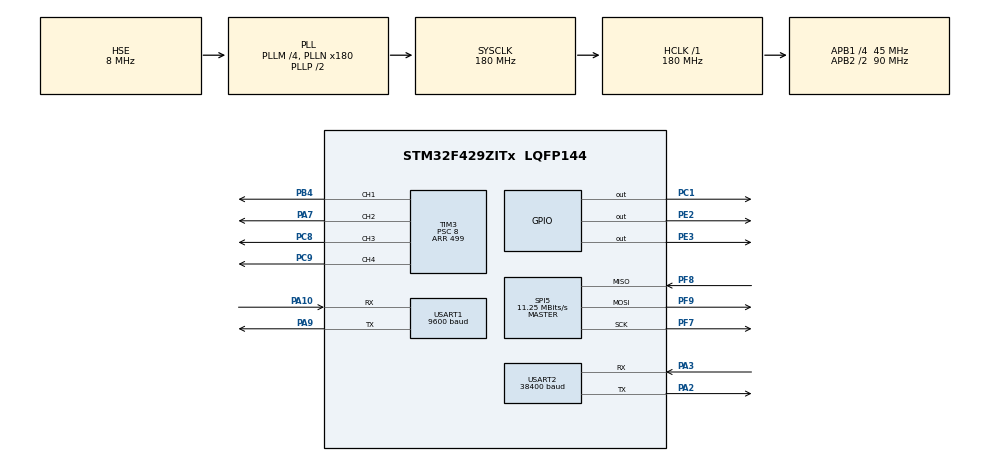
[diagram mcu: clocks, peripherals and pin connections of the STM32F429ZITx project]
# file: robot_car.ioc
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Mcu.Family=STM32F4
Mcu.Name=STM32F429ZITx
Mcu.Package=LQFP144
NVIC.PriorityGroup=NVIC_PRIORITYGROUP_4
NVIC.USART2_IRQn=true\:0\:0\:false\:false\:true\:true\:true\:true
PA10.Mode=Asynchronous
PA10.Signal=USART1_RX
PA13.Mode=Serial_Wire
PA13.Signal=SYS_JTMS-SWDIO
PA14.Mode=Serial_Wire
PA14.Signal=SYS_JTCK-SWCLK
PA2.Mode=Asynchronous
PA2.Signal=USART2_TX
PA3.Mode=Asynchronous
PA3.Signal=USART2_RX
PA7.Signal=S_TIM3_CH2
PA9.Mode=Asynchronous
PA9.Signal=USART1_TX
PB4.Signal=S_TIM3_CH1
PC1.PinState=GPIO_PIN_SET
PC1.Signal=GPIO_Output
PC8.Signal=S_TIM3_CH3
PC9.Signal=S_TIM3_CH4
PE2.Signal=GPIO_Output
PE3.Signal=GPIO_Output
PF7.Mode=Full_Duplex_Master
PF7.Signal=SPI5_SCK
PF8.Mode=Full_Duplex_Master
PF8.Signal=SPI5_MISO
PF9.Mode=Full_Duplex_Master
PF9.Signal=SPI5_MOSI
PH0/OSC_IN.Mode=HSE-External-Oscillator
PH0/OSC_IN.Signal=RCC_OSC_IN
PH1/OSC_OUT.Mode=HSE-External-Oscillator
PH1/OSC_OUT.Signal=RCC_OSC_OUT
ProjectManager.HeapSize=0x200
ProjectManager.StackSize=0x400
ProjectManager.TargetToolchain=STM32CubeIDE
RCC.48MHZClocksFreq_Value=120000000
RCC.AHBFreq_Value=180000000
RCC.APB1CLKDivider=RCC_HCLK_DIV4
RCC.APB1Freq_Value=45000000
RCC.APB1TimFreq_Value=90000000
RCC.APB2CLKDivider=RCC_HCLK_DIV2
RCC.APB2Freq_Value=90000000
RCC.APB2TimFreq_Value=180000000
RCC.CortexFreq_Value=180000000
RCC.HCLKFreq_Value=180000000
RCC.HSE_VALUE=8000000
RCC.HSI_VALUE=16000000
RCC.LSE_VALUE=32768
RCC.PLLM=4
RCC.PLLN=180
RCC.PLLQ=3
RCC.PLLSAIN=50
RCC.PLLSourceVirtual=RCC_PLLSOURCE_HSE
RCC.SYSCLKFreq_VALUE=180000000
RCC.SYSCLKSource=RCC_SYSCLKSOURCE_PLLCLK
RCC.VCOOutputFreq_Value=360000000
SH.S_TIM3_CH1.0=TIM3_CH1,PWM Generation1 CH1
SH.S_TIM3_CH2.0=TIM3_CH2,PWM Generation2 CH2
SH.S_TIM3_CH3.0=TIM3_CH3,PWM Generation3 CH3
SH.S_TIM3_CH4.0=TIM3_CH4,PWM Generation4 CH4
SPI5.BaudRatePrescaler=SPI_BAUDRATEPRESCALER_8
SPI5.CLKPhase=SPI_PHASE_2EDGE
SPI5.CLKPolarity=SPI_POLARITY_HIGH
SPI5.CalculateBaudRate=11.25 MBits/s
SPI5.Direction=SPI_DIRECTION_2LINES
SPI5.Mode=SPI_MODE_MASTER
SPI5.VirtualType=VM_MASTER
TIM3.Channel-PWM\ Generation1\ CH1=TIM_CHANNEL_1
TIM3.Channel-PWM\ Generation2\ CH2=TIM_CHANNEL_2
TIM3.Channel-PWM\ Generation3\ CH3=TIM_CHANNEL_3
TIM3.Channel-PWM\ Generation4\ CH4=TIM_CHANNEL_4
TIM3.Period=499
TIM3.Prescaler=8
USART1.BaudRate=9600
USART1.VirtualMode=VM_ASYNC
USART2.BaudRate=38400
USART2.VirtualMode=VM_ASYNC
VP_TIM3_VS_ClockSourceINT.Mode=Internal
board=STM32F429I-DISC1

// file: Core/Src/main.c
/* USER CODE BEGIN Header */
/**
  ******************************************************************************
  * @file           : main.c
  * @brief          : Main program body
  ******************************************************************************
  * @attention
  *
  * Copyright (c) 2026 STMicroelectronics.
  * All rights reserved.
  *
  * This software is licensed under terms that can be found in the LICENSE file
  * in the root directory of this software component.
  * If no LICENSE file comes with this software, it is provided AS-IS.
  *
  ******************************************************************************
  */
/* USER CODE END Header */
#include "main.h"

/* USER CODE BEGIN Includes */
#include "drv_bluetoothoruart.h"
#include "app_command.h"
#include <string.h>

#include <stdio.h>
#include "app_robot.h"
#include "svc_heading.h"
#include "drv_i3g4250.h"

#include "app_command.h"    //komutlar F600 S L90
#include "debug.h"

/* USER CODE END Includes */

SPI_HandleTypeDef hspi5;

TIM_HandleTypeDef htim3;

UART_HandleTypeDef huart1;
UART_HandleTypeDef huart2;

void SystemClock_Config(void);
static void MX_GPIO_Init(void);
static void MX_USART1_UART_Init(void);
static void MX_TIM3_Init(void);
static void MX_SPI5_Init(void);
static void MX_USART2_UART_Init(void);

int main(void)
{

  /* MCU Configuration--------------------------------------------------------*/

  /* Reset of all peripherals, Initializes the Flash interface and the Systick. */
  HAL_Init();

  /* Configure the system clock */
  SystemClock_Config();

  /* Initialize all configured peripherals */
  MX_GPIO_Init();
  MX_USART1_UART_Init();
  MX_TIM3_Init();
  MX_SPI5_Init();
  MX_USART2_UART_Init();
  /* USER CODE BEGIN 2 */

  Bluetooth_Init(&huart2);
  Bluetooth_StartReceiveIT();

  Check_Reset_Source();    // reset sebebini burada kontrol et

  printf("Hello robot\r\n");

  App_Init();

  uint32_t t10 = HAL_GetTick();

  //TestWhoAmI(I3G4250_WHO_AM_I);

  //Robot_TurnAngle(90.0);
  //Robot_ForwardGyro(700);

  char rx_line[BT_RX_LINE_LEN];
  /* USER CODE END 2 */

  /* Infinite loop */
  while (1)
  {

    /* USER CODE BEGIN 3 */

	    if (Bluetooth_IsLineReady())
	    {
	        memset(rx_line, 0, sizeof(rx_line));
	        Bluetooth_GetLine(rx_line, sizeof(rx_line));

	        printf("RX: %s\r\n", rx_line);
	        Command_Parse(rx_line);
	    }

	    // ===== 10 ms motion tick =====
	    if (HAL_GetTick() - t10 >= 10)
	    {
	        t10 += 10;
	        App_Tick_10ms();
	        //Heading_Print();
	    }

  }
  /* USER CODE END 3 */
}

void SystemClock_Config(void)
{
  RCC_OscInitTypeDef RCC_OscInitStruct = {0};
  RCC_ClkInitTypeDef RCC_ClkInitStruct = {0};

  /** Configure the main internal regulator output voltage
  */
  __HAL_RCC_PWR_CLK_ENABLE();
  __HAL_PWR_VOLTAGESCALING_CONFIG(PWR_REGULATOR_VOLTAGE_SCALE1);

  /** Initializes the RCC Oscillators according to the specified parameters
  * in the RCC_OscInitTypeDef structure.
  */
  RCC_OscInitStruct.OscillatorType = RCC_OSCILLATORTYPE_HSE;
  RCC_OscInitStruct.HSEState = RCC_HSE_ON;
  RCC_OscInitStruct.PLL.PLLState = RCC_PLL_ON;
  RCC_OscInitStruct.PLL.PLLSource = RCC_PLLSOURCE_HSE;
  RCC_OscInitStruct.PLL.PLLM = 4;
  RCC_OscInitStruct.PLL.PLLN = 180;
  RCC_OscInitStruct.PLL.PLLP = RCC_PLLP_DIV2;
  RCC_OscInitStruct.PLL.PLLQ = 3;
  if (HAL_RCC_OscConfig(&RCC_OscInitStruct) != HAL_OK)
  {
    Error_Handler();
  }

  /** Activate the Over-Drive mode
  */
  if (HAL_PWREx_EnableOverDrive() != HAL_OK)
  {
    Error_Handler();
  }

  /** Initializes the CPU, AHB and APB buses clocks
  */
  RCC_ClkInitStruct.ClockType = RCC_CLOCKTYPE_HCLK|RCC_CLOCKTYPE_SYSCLK
                              |RCC_CLOCKTYPE_PCLK1|RCC_CLOCKTYPE_PCLK2;
  RCC_ClkInitStruct.SYSCLKSource = RCC_SYSCLKSOURCE_PLLCLK;
  RCC_ClkInitStruct.AHBCLKDivider = RCC_SYSCLK_DIV1;
  RCC_ClkInitStruct.APB1CLKDivider = RCC_HCLK_DIV4;
  RCC_ClkInitStruct.APB2CLKDivider = RCC_HCLK_DIV2;

  if (HAL_RCC_ClockConfig(&RCC_ClkInitStruct, FLASH_LATENCY_5) != HAL_OK)
  {
    Error_Handler();
  }
}

static void MX_SPI5_Init(void)
{

  /* SPI5 parameter configuration*/
  hspi5.Instance = SPI5;
  hspi5.Init.Mode = SPI_MODE_MASTER;
  hspi5.Init.Direction = SPI_DIRECTION_2LINES;
  hspi5.Init.DataSize = SPI_DATASIZE_8BIT;
  hspi5.Init.CLKPolarity = SPI_POLARITY_HIGH;
  hspi5.Init.CLKPhase = SPI_PHASE_2EDGE;
  hspi5.Init.NSS = SPI_NSS_SOFT;
  hspi5.Init.BaudRatePrescaler = SPI_BAUDRATEPRESCALER_8;
  hspi5.Init.FirstBit = SPI_FIRSTBIT_MSB;
  hspi5.Init.TIMode = SPI_TIMODE_DISABLE;
  hspi5.Init.CRCCalculation = SPI_CRCCALCULATION_DISABLE;
  hspi5.Init.CRCPolynomial = 10;
  if (HAL_SPI_Init(&hspi5) != HAL_OK)
  {
    Error_Handler();
  }

}

static void MX_TIM3_Init(void)
{

  TIM_ClockConfigTypeDef sClockSourceConfig = {0};
  TIM_MasterConfigTypeDef sMasterConfig = {0};
  TIM_OC_InitTypeDef sConfigOC = {0};

  htim3.Instance = TIM3;
  htim3.Init.Prescaler = 8;
  htim3.Init.CounterMode = TIM_COUNTERMODE_UP;
  htim3.Init.Period = 499;
  htim3.Init.ClockDivision = TIM_CLOCKDIVISION_DIV1;
  htim3.Init.AutoReloadPreload = TIM_AUTORELOAD_PRELOAD_DISABLE;
  if (HAL_TIM_Base_Init(&htim3) != HAL_OK)
  {
    Error_Handler();
  }
  sClockSourceConfig.ClockSource = TIM_CLOCKSOURCE_INTERNAL;
  if (HAL_TIM_ConfigClockSource(&htim3, &sClockSourceConfig) != HAL_OK)
  {
    Error_Handler();
  }
  if (HAL_TIM_PWM_Init(&htim3) != HAL_OK)
  {
    Error_Handler();
  }
  sMasterConfig.MasterOutputTrigger = TIM_TRGO_RESET;
  sMasterConfig.MasterSlaveMode = TIM_MASTERSLAVEMODE_DISABLE;
  if (HAL_TIMEx_MasterConfigSynchronization(&htim3, &sMasterConfig) != HAL_OK)
  {
    Error_Handler();
  }
  sConfigOC.OCMode = TIM_OCMODE_PWM1;
  sConfigOC.Pulse = 0;
  sConfigOC.OCPolarity = TIM_OCPOLARITY_HIGH;
  sConfigOC.OCFastMode = TIM_OCFAST_DISABLE;
  if (HAL_TIM_PWM_ConfigChannel(&htim3, &sConfigOC, TIM_CHANNEL_1) != HAL_OK)
  {
    Error_Handler();
  }
  if (HAL_TIM_PWM_ConfigChannel(&htim3, &sConfigOC, TIM_CHANNEL_2) != HAL_OK)
  {
    Error_Handler();
  }
  if (HAL_TIM_PWM_ConfigChannel(&htim3, &sConfigOC, TIM_CHANNEL_3) != HAL_OK)
  {
    Error_Handler();
  }
  if (HAL_TIM_PWM_ConfigChannel(&htim3, &sConfigOC, TIM_CHANNEL_4) != HAL_OK)
  {
    Error_Handler();
  }
  HAL_TIM_MspPostInit(&htim3);

}

static void MX_USART1_UART_Init(void)
{

  huart1.Instance = USART1;
  huart1.Init.BaudRate = 9600;
  huart1.Init.WordLength = UART_WORDLENGTH_8B;
  huart1.Init.StopBits = UART_STOPBITS_1;
  huart1.Init.Parity = UART_PARITY_NONE;
  huart1.Init.Mode = UART_MODE_TX_RX;
  huart1.Init.HwFlowCtl = UART_HWCONTROL_NONE;
  huart1.Init.OverSampling = UART_OVERSAMPLING_16;
  if (HAL_UART_Init(&huart1) != HAL_OK)
  {
    Error_Handler();
  }

}

static void MX_USART2_UART_Init(void)
{

  huart2.Instance = USART2;
  huart2.Init.BaudRate = 38400;
  huart2.Init.WordLength = UART_WORDLENGTH_8B;
  huart2.Init.StopBits = UART_STOPBITS_1;
  huart2.Init.Parity = UART_PARITY_NONE;
  huart2.Init.Mode = UART_MODE_TX_RX;
  huart2.Init.HwFlowCtl = UART_HWCONTROL_NONE;
  huart2.Init.OverSampling = UART_OVERSAMPLING_16;
  if (HAL_UART_Init(&huart2) != HAL_OK)
  {
    Error_Handler();
  }

}

static void MX_GPIO_Init(void)
{
  GPIO_InitTypeDef GPIO_InitStruct = {0};

  /* GPIO Ports Clock Enable */
  __HAL_RCC_GPIOE_CLK_ENABLE();
  __HAL_RCC_GPIOF_CLK_ENABLE();
  __HAL_RCC_GPIOH_CLK_ENABLE();
  __HAL_RCC_GPIOC_CLK_ENABLE();
  __HAL_RCC_GPIOA_CLK_ENABLE();
  __HAL_RCC_GPIOB_CLK_ENABLE();

  /*Configure GPIO pin Output Level */
  HAL_GPIO_WritePin(GPIOE, GPIO_PIN_2|GPIO_PIN_3, GPIO_PIN_RESET);

  /*Configure GPIO pin Output Level */
  HAL_GPIO_WritePin(GPIOC, GPIO_PIN_1, GPIO_PIN_SET);

  /*Configure GPIO pins : PE2 PE3 */
  GPIO_InitStruct.Pin = GPIO_PIN_2|GPIO_PIN_3;
  GPIO_InitStruct.Mode = GPIO_MODE_OUTPUT_PP;
  GPIO_InitStruct.Pull = GPIO_NOPULL;
  GPIO_InitStruct.Speed = GPIO_SPEED_FREQ_LOW;
  HAL_GPIO_Init(GPIOE, &GPIO_InitStruct);

  /*Configure GPIO pin : PC1 */
  GPIO_InitStruct.Pin = GPIO_PIN_1;
  GPIO_InitStruct.Mode = GPIO_MODE_OUTPUT_PP;
  GPIO_InitStruct.Pull = GPIO_NOPULL;
  GPIO_InitStruct.Speed = GPIO_SPEED_FREQ_LOW;
  HAL_GPIO_Init(GPIOC, &GPIO_InitStruct);

}

/* USER CODE BEGIN 4 */
void HAL_UART_RxCpltCallback(UART_HandleTypeDef *huart)
{
	Bluetooth_RxCpltCallback(huart);
	HAL_GPIO_TogglePin(GPIOG, GPIO_PIN_13); // LED

}
/* USER CODE END 4 */

void Error_Handler(void)
{
  __disable_irq();
  while (1)
  {
  }
}
